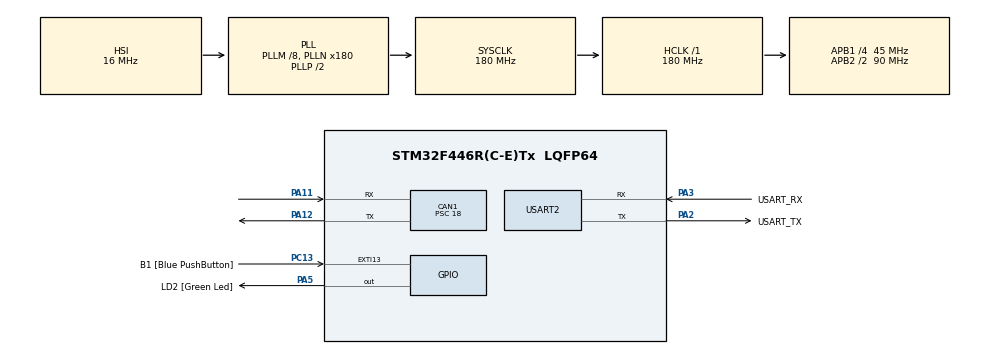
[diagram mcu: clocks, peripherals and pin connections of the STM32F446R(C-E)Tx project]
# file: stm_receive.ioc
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CAN1.BS1=CAN_BS1_2TQ
CAN1.BS2=CAN_BS2_2TQ
CAN1.CalculateBaudRate=500000
CAN1.CalculateTimeBit=2000
CAN1.CalculateTimeQuantum=400.0
CAN1.Prescaler=18
Mcu.Family=STM32F4
Mcu.Name=STM32F446R(C-E)Tx
Mcu.Package=LQFP64
NVIC.CAN1_RX0_IRQn=true\:0\:0\:false\:false\:true\:true\:true\:true
NVIC.PriorityGroup=NVIC_PRIORITYGROUP_0
PA11.Mode=CAN_Activate
PA11.Signal=CAN1_RX
PA12.Mode=CAN_Activate
PA12.Signal=CAN1_TX
PA13.GPIO_Label=TMS
PA13.Mode=Serial_Wire
PA13.Signal=SYS_JTMS-SWDIO
PA14.GPIO_Label=TCK
PA14.Mode=Serial_Wire
PA14.Signal=SYS_JTCK-SWCLK
PA2.GPIO_Label=USART_TX
PA2.Mode=Asynchronous
PA2.Signal=USART2_TX
PA3.GPIO_Label=USART_RX
PA3.Mode=Asynchronous
PA3.Signal=USART2_RX
PA5.GPIO_Label=LD2 [Green Led]
PA5.Signal=GPIO_Output
PB3.GPIO_Label=SWO
PB3.Signal=SYS_JTDO-SWO
PC13.GPIO_Label=B1 [Blue PushButton]
PC13.GPIO_ModeDefaultEXTI=GPIO_MODE_IT_FALLING
PC13.Signal=GPXTI13
PC14-OSC32_IN.Mode=LSE-External-Oscillator
PC14-OSC32_IN.Signal=RCC_OSC32_IN
PC15-OSC32_OUT.Mode=LSE-External-Oscillator
PC15-OSC32_OUT.Signal=RCC_OSC32_OUT
PH0-OSC_IN.Mode=HSE-External-Oscillator
PH0-OSC_IN.Signal=RCC_OSC_IN
PH1-OSC_OUT.Mode=HSE-External-Oscillator
PH1-OSC_OUT.Signal=RCC_OSC_OUT
ProjectManager.HeapSize=0x200
ProjectManager.StackSize=0x400
ProjectManager.TargetToolchain=STM32CubeIDE
RCC.48MHZClocksFreq_Value=84000000
RCC.AHBFreq_Value=180000000
RCC.APB1CLKDivider=RCC_HCLK_DIV4
RCC.APB1Freq_Value=45000000
RCC.APB1TimFreq_Value=90000000
RCC.APB2CLKDivider=RCC_HCLK_DIV2
RCC.APB2Freq_Value=90000000
RCC.APB2TimFreq_Value=180000000
RCC.CortexFreq_Value=180000000
RCC.FLatency-AdvancedSettings=FLASH_LATENCY_5
RCC.HCLKFreq_Value=180000000
RCC.HSE_VALUE=8000000
RCC.HSI_VALUE=16000000
RCC.PLLM=8
RCC.PLLN=180
RCC.SYSCLKFreq_VALUE=180000000
RCC.SYSCLKSource=RCC_SYSCLKSOURCE_PLLCLK
RCC.USBFreq_Value=180000000
RCC.VCOOutputFreq_Value=360000000
USART2.VirtualMode=VM_ASYNC
board=NUCLEO-F446RE

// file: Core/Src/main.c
/* USER CODE BEGIN Header */
/**
  ******************************************************************************
  * @file           : main.c
  * @brief          : Main program body
  ******************************************************************************
  * @attention
  *
  * Copyright (c) 2025 STMicroelectronics.
  * All rights reserved.
  *
  * This software is licensed under terms that can be found in the LICENSE file
  * in the root directory of this software component.
  * If no LICENSE file comes with this software, it is provided AS-IS.
  *
  ******************************************************************************
  */
/* USER CODE END Header */
#include "main.h"

CAN_HandleTypeDef hcan1;

UART_HandleTypeDef huart2;

void SystemClock_Config(void);
static void MX_GPIO_Init(void);
static void MX_CAN1_Init(void);
static void MX_USART2_UART_Init(void);
/* USER CODE BEGIN PFP */
CAN_TxHeaderTypeDef TxHeader;
CAN_RxHeaderTypeDef RxHeader;

uint8_t TxData[8];
uint8_t RxData[8];

uint32_t TxMailbox;
int datacheck=0;
/* USER CODE END PFP */

/* USER CODE BEGIN 0 */

void HAL_CAN_RxFifoMsgPendingCallback(CAN_HandleTypeDef *hcan) {
    HAL_CAN_GetRxMessage(hcan, CAN_RX_FIFO0, &RxHeader, RxData);

    // Debugging: Send received data via UART
    if (RxHeader.DLC == 2) {
        datacheck = 1;

        // Prepare the data to be sent via UART
        char uart_buffer[50];
        int len = sprintf(uart_buffer, "Received Data: %d, %d\r\n", RxData[0], RxData[1]);

        // Send the data over UART
        HAL_UART_Transmit(&huart2, (uint8_t*)uart_buffer, len, HAL_MAX_DELAY);
    }
}
/* USER CODE END PFP */

/* Private user code ---------------------------------------------------------*/
/* USER CODE BEGIN 0 */

/* USER CODE END 0 */

int main(void)
{

  /* MCU Configuration--------------------------------------------------------*/

  /* Reset of all peripherals, Initializes the Flash interface and the Systick. */
  HAL_Init();

  /* Configure the system clock */
  SystemClock_Config();

  /* Initialize all configured peripherals */
  MX_GPIO_Init();
  MX_CAN1_Init();
  MX_USART2_UART_Init();
  /* USER CODE BEGIN 2 */
  HAL_CAN_Start(&hcan1);

    //Activating Notification
    HAL_CAN_ActivateNotification(&hcan1, CAN_IT_RX_FIFO0_MSG_PENDING);

    TxHeader.DLC=2;
    TxHeader.IDE=CAN_ID_STD;
    TxHeader.RTR=CAN_RTR_DATA;
    TxHeader.StdId=0x103;

    TxData[0]=50;
    TxData[1]=20;

    HAL_UART_Transmit(&huart2, "HII", strlen("HII"), HAL_MAX_DELAY);
  /* USER CODE END 2 */

  /* Infinite loop */
  /* USER CODE BEGIN WHILE */
  while (1)
  {

  }
}

void SystemClock_Config(void)
{
  RCC_OscInitTypeDef RCC_OscInitStruct = {0};
  RCC_ClkInitTypeDef RCC_ClkInitStruct = {0};

  /** Configure the main internal regulator output voltage
  */
  __HAL_RCC_PWR_CLK_ENABLE();
  __HAL_PWR_VOLTAGESCALING_CONFIG(PWR_REGULATOR_VOLTAGE_SCALE1);

  /** Initializes the RCC Oscillators according to the specified parameters
  * in the RCC_OscInitTypeDef structure.
  */
  RCC_OscInitStruct.OscillatorType = RCC_OSCILLATORTYPE_HSI;
  RCC_OscInitStruct.HSIState = RCC_HSI_ON;
  RCC_OscInitStruct.HSICalibrationValue = RCC_HSICALIBRATION_DEFAULT;
  RCC_OscInitStruct.PLL.PLLState = RCC_PLL_ON;
  RCC_OscInitStruct.PLL.PLLSource = RCC_PLLSOURCE_HSI;
  RCC_OscInitStruct.PLL.PLLM = 8;
  RCC_OscInitStruct.PLL.PLLN = 180;
  RCC_OscInitStruct.PLL.PLLP = RCC_PLLP_DIV2;
  RCC_OscInitStruct.PLL.PLLQ = 2;
  RCC_OscInitStruct.PLL.PLLR = 2;
  if (HAL_RCC_OscConfig(&RCC_OscInitStruct) != HAL_OK)
  {
    Error_Handler();
  }

  /** Activate the Over-Drive mode
  */
  if (HAL_PWREx_EnableOverDrive() != HAL_OK)
  {
    Error_Handler();
  }

  /** Initializes the CPU, AHB and APB buses clocks
  */
  RCC_ClkInitStruct.ClockType = RCC_CLOCKTYPE_HCLK|RCC_CLOCKTYPE_SYSCLK
                              |RCC_CLOCKTYPE_PCLK1|RCC_CLOCKTYPE_PCLK2;
  RCC_ClkInitStruct.SYSCLKSource = RCC_SYSCLKSOURCE_PLLCLK;
  RCC_ClkInitStruct.AHBCLKDivider = RCC_SYSCLK_DIV1;
  RCC_ClkInitStruct.APB1CLKDivider = RCC_HCLK_DIV4;
  RCC_ClkInitStruct.APB2CLKDivider = RCC_HCLK_DIV2;

  if (HAL_RCC_ClockConfig(&RCC_ClkInitStruct, FLASH_LATENCY_5) != HAL_OK)
  {
    Error_Handler();
  }
}

static void MX_CAN1_Init(void)
{

  hcan1.Instance = CAN1;
  hcan1.Init.Prescaler = 18;
  hcan1.Init.Mode = CAN_MODE_NORMAL;
  hcan1.Init.SyncJumpWidth = CAN_SJW_1TQ;
  hcan1.Init.TimeSeg1 = CAN_BS1_2TQ;
  hcan1.Init.TimeSeg2 = CAN_BS2_2TQ;
  hcan1.Init.TimeTriggeredMode = DISABLE;
  hcan1.Init.AutoBusOff = DISABLE;
  hcan1.Init.AutoWakeUp = DISABLE;
  hcan1.Init.AutoRetransmission = DISABLE;
  hcan1.Init.ReceiveFifoLocked = DISABLE;
  hcan1.Init.TransmitFifoPriority = DISABLE;
  if (HAL_CAN_Init(&hcan1) != HAL_OK)
  {
    Error_Handler();
  }
  /* USER CODE BEGIN CAN1_Init 2 */
  CAN_FilterTypeDef canfilterconfig;

  canfilterconfig.FilterActivation=CAN_FILTER_ENABLE;
  canfilterconfig.FilterBank=18;
  canfilterconfig.FilterFIFOAssignment=CAN_FILTER_FIFO0;
  canfilterconfig.FilterIdHigh=0x446<<5;
  canfilterconfig.FilterIdLow=0;
  canfilterconfig.FilterMaskIdHigh=0x446<<5;
  canfilterconfig.FilterMaskIdLow=0x0000;
  canfilterconfig.FilterMode=CAN_FILTERMODE_IDMASK;
  canfilterconfig.FilterScale=CAN_FILTERSCALE_32BIT;
  canfilterconfig.SlaveStartFilterBank=20;

  HAL_CAN_ConfigFilter(&hcan1, &canfilterconfig);
  /* USER CODE END CAN1_Init 2 */
  /* USER CODE END CAN1_Init 2 */

}

static void MX_USART2_UART_Init(void)
{

  huart2.Instance = USART2;
  huart2.Init.BaudRate = 115200;
  huart2.Init.WordLength = UART_WORDLENGTH_8B;
  huart2.Init.StopBits = UART_STOPBITS_1;
  huart2.Init.Parity = UART_PARITY_NONE;
  huart2.Init.Mode = UART_MODE_TX_RX;
  huart2.Init.HwFlowCtl = UART_HWCONTROL_NONE;
  huart2.Init.OverSampling = UART_OVERSAMPLING_16;
  if (HAL_UART_Init(&huart2) != HAL_OK)
  {
    Error_Handler();
  }

}

static void MX_GPIO_Init(void)
{
  GPIO_InitTypeDef GPIO_InitStruct = {0};

  /* GPIO Ports Clock Enable */
  __HAL_RCC_GPIOC_CLK_ENABLE();
  __HAL_RCC_GPIOH_CLK_ENABLE();
  __HAL_RCC_GPIOA_CLK_ENABLE();
  __HAL_RCC_GPIOB_CLK_ENABLE();

  /*Configure GPIO pin Output Level */
  HAL_GPIO_WritePin(LD2_GPIO_Port, LD2_Pin, GPIO_PIN_RESET);

  /*Configure GPIO pin : B1_Pin */
  GPIO_InitStruct.Pin = B1_Pin;
  GPIO_InitStruct.Mode = GPIO_MODE_IT_FALLING;
  GPIO_InitStruct.Pull = GPIO_NOPULL;
  HAL_GPIO_Init(B1_GPIO_Port, &GPIO_InitStruct);

  /*Configure GPIO pin : LD2_Pin */
  GPIO_InitStruct.Pin = LD2_Pin;
  GPIO_InitStruct.Mode = GPIO_MODE_OUTPUT_PP;
  GPIO_InitStruct.Pull = GPIO_NOPULL;
  GPIO_InitStruct.Speed = GPIO_SPEED_FREQ_LOW;
  HAL_GPIO_Init(LD2_GPIO_Port, &GPIO_InitStruct);

}

void Error_Handler(void)
{
  __disable_irq();
  while (1)
  {
  }
}
